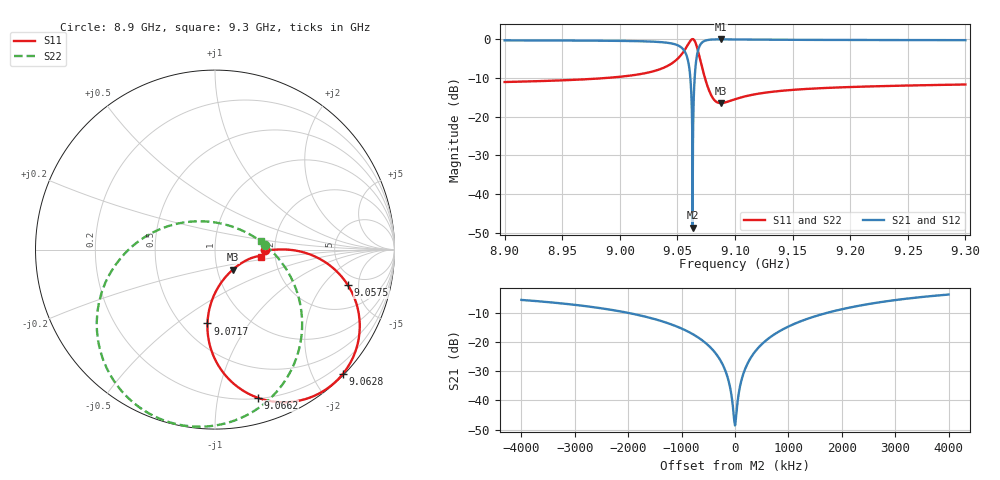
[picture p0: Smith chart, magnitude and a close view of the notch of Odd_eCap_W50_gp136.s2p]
! Sonnet Data File
! From: emgraph Version : 16.52
! From Project: Resonator2_extremeCap2
! Data is De-embedded
! Data File Written: 10/11/2017 20:35:06
!< HDATE 10/11/2017 16:33:44
!< MDATE 10/11/2017 16:33:44
!< PARAMS
!< Pwid1 = 2000.0
!< Pwid2 = 2000.0
!< Air_gap = 30.0
!< Width = 50.0
!< Gap = 136.0
!< END PARAMS
# GHZ S MA R 47.40000
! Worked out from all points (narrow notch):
!   2193 points, 8.9 GHz to 9.3 GHz, reference 47.4 ohm
!   highest |S21| = -0.10 dB at 9.0877 GHz (marker M1); lowest = -48.6 dB at 9.0633 GHz (marker M2)
!   notch at M2: 48.2 dB deep, 668 kHz wide at half that depth
!   lowest |S11| = -16.5 dB at 9.0877 GHz (marker M3), VSWR 1.35, Z = 56.3 - j12.8 ohm
!   |S11| at or under -10 dB: start of sweep to 8.9901 GHz; 9.0739 GHz to end of sweep
!   |S22| runs from -16.5 to 0.0 dB; largest |S21 - S12| = 0
!   S11 on the Smith chart (normalised r, x): 8.9 GHz: 1.77, -0.01; 9.0575 GHz: 3.85, -3.73; 9.0628 GHz: 0.02, -2.47; 9.0662 GHz: 0.21, -1.31; 9.0717 GHz: 0.66, -0.66; 9.3 GHz: 1.68, -0.14
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8.9  0.2791 -0.4  0.9603 -87.6  0.9603 -87.6  0.2791 5.1
!< P1 F=8.9 Eeff=(5.03074334 -2.1789e-5) Z0=(47.3979938 1.04427e-4) R=0.0 C=0.0
!< P2 F=8.9 Eeff=(5.03074334 -2.1789e-5) Z0=(47.3979938 1.04427e-4) R=0.0 C=0.0
8.96675  0.3008 -0.4  0.9537 -89.7  0.9537 -89.7  0.3008 1.1
9.0335  0.4016 0.0  0.9157 -97.0  0.9157 -97.0  0.4015 -14.0
9.049  0.5358 -3.1  0.8439 -106.3  0.8439 -106.3  0.5356 -29.6
9.057472  0.7675 -15.1  0.6392 -124.6  0.6392 -124.6  0.7669 -54.5
9.061236  0.9463 -32.4  0.3156 -145.9  0.3156 -145.9  0.9454 -80.4
9.062215  0.9817 -39.5  0.1747 -153.8  0.1747 -153.8  0.9807 -90.2
9.062778  0.9935 -44.1  0.08259 -157.8  0.08259 -157.8  0.9924 -96.4
9.063081  0.9964 -46.7  0.03014 -156.3  0.03014 -156.3  0.9953 -99.9
9.06325  0.9968 -48.2  0.00372 -73.8  0.00372 -73.8  0.9957 -101.9
9.063384  0.9965 -49.4  0.02438 4.7  0.02438 4.7  0.9953 -103.5
9.063636  0.9942 -51.7  0.07016 7.7  0.07016 7.7  0.9931 -106.6
9.064115  0.984 -56.0  0.1584 4.3  0.1584 4.3  0.9828 -112.5
9.066157  0.859 -73.9  0.506 -16.3  0.506 -16.3  0.8577 -137.8
9.06903  0.6003 -90.5  0.7973 -39.1  0.7973 -39.1  0.5992 -167.2
9.071744  0.4136 -95.8  0.9092 -52.2  0.9092 -52.2  0.4127 171.8
9.079757  0.1836 -78.2  0.9826 -69.0  0.9826 -69.0  0.1829 120.4
9.08775  0.1494 -48.3  0.9886 -75.3  0.9886 -75.3  0.149 77.6
9.1  0.1675 -25.9  0.9858 -79.8  0.9858 -79.8  0.1673 46.4
9.16675  0.2293 -10.0  0.9733 -86.0  0.9733 -86.0  0.2293 18.0
9.2335  0.2485 -8.7  0.9686 -88.0  0.9686 -88.0  0.2485 12.9
9.3  0.2593 -8.8  0.9658 -89.2  0.9658 -89.2  0.2593 10.3
